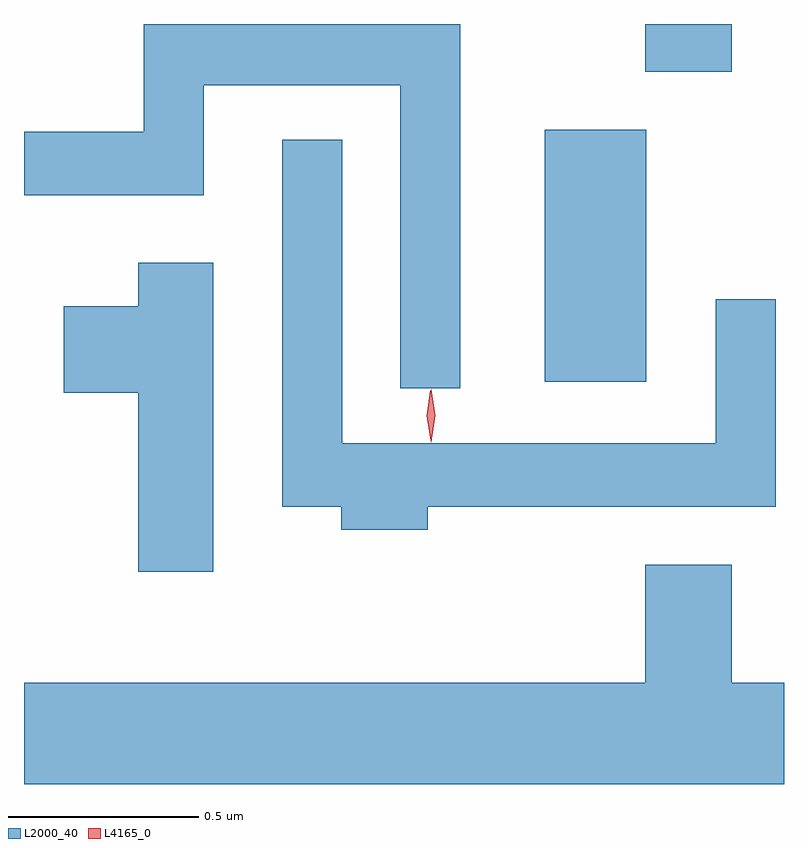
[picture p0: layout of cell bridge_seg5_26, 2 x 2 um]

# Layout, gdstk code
import gdstk
lib = gdstk.Library(unit=1e-6, precision=1e-09)
def R(c, l, rs):  # rectangles x0, y0, x1, y1
    for r in rs: c.add(gdstk.rectangle(r[:2], r[2:], *l))
def P(c, l, *ps):  # polygons
    for p in ps: c.add(gdstk.Polygon(p, *l))
L2000_40 = (2000, 40)
L4165_0 = (4165, 0)

bridge_seg5_26 = lib.new_cell('bridge_seg5_26')
R(bridge_seg5_26, L2000_40, [(1246.446,1477.836,1246.714,1478.499), (1246.711,1478.651,1246.939,1478.777)])
P(bridge_seg5_26, L2000_40, [(1246.224,1478.777),(1245.391,1478.777),(1245.391,1478.494),(1245.076,1478.494),(1245.076,1478.326),(1245.549,1478.326),(1245.549,1478.616),(1246.066,1478.616),(1246.066,1477.818),(1246.224,1477.818)],
  [(1246.139,1477.506),(1247.054,1477.506),(1247.054,1478.053),(1246.896,1478.053),(1246.896,1477.674),(1245.914,1477.674),(1245.914,1478.473),(1245.756,1478.473),(1245.756,1477.506),(1245.911,1477.506),(1245.911,1477.446),(1246.139,1477.446)],
  [(1245.574,1478.149),(1245.376,1478.149),(1245.376,1478.034),(1245.181,1478.034),(1245.181,1477.806),(1245.376,1477.806),(1245.376,1477.336),(1245.574,1477.336)],
  [(1247.076,1477.044),(1246.939,1477.044),(1246.939,1477.354),(1246.711,1477.354),(1246.711,1477.044),(1245.076,1477.044),(1245.076,1476.777),(1247.076,1476.777)])
P(bridge_seg5_26, L4165_0, [(1246.148,1477.677),(1246.148,1477.677),(1246.138,1477.747),(1246.148,1477.816),(1246.148,1477.816),(1246.148,1477.816),(1246.158,1477.747),(1246.148,1477.677)],
  [(1246.146,1477.679),(1246.146,1477.68),(1246.136,1477.746),(1246.145,1477.812),(1246.146,1477.813),(1246.146,1477.812),(1246.156,1477.746),(1246.146,1477.68)])

lib.write_gds('bridge_seg5_26.gds')
